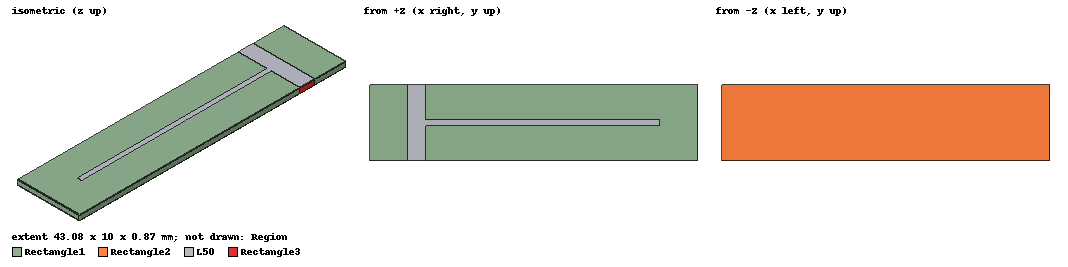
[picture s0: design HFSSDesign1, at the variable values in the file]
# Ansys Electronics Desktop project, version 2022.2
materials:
  vacuum: permittivity=1
  pec: conductivity=1e+30
  Rogers RT/duroid 5870 (tm): permittivity=2.33 dielectric_loss_tangent=0.0012

design HFSSDesign1 (HFSS, DrivenModal, model units mm)
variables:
  w50 = 2.38mm
  l50 = 10mm
  w100 = 0.68mm
  l100 = 30.7mm
  add = 5mm
  t = 0.035mm
  h = 0.8mm
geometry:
  L50 [pec] = rectangle(corner=(0mm, 0mm, 0mm), x_size=w50, y_size=l50)
  L100 = rectangle(corner=(w50, l50/2-w100/2, 0mm), x_size=l100, y_size=w100)
  Rectangle1 [Rogers RT/duroid 5870 (tm)] = rectangle(corner=(-add, 0mm, 0mm), x_size=w50+l100+2*add, y_size=l50)
  L50.unite(L100)
  L50.thicken(t)
  Rectangle1.thicken(-h)
  Rectangle2 [pec] = rectangle(corner=(-add, 0mm, -h-t), x_size=w50+l100+2*add, y_size=l50)
  Rectangle2.thicken(t)
  Rectangle3 = rectangle(corner=(2.38mm, 10mm, 0.035mm), z_size=-0.035mm-0.8mm-0.035mm, x_size=-w50)
  Rectangle4 = rectangle(corner=(2.38mm, 0mm, 0.035mm), z_size=-0.035mm-0.8mm-0.035mm, x_size=-w50)
  Region [vacuum] = region(absolute_offset=50mm on all sides)
  coordinate_system RelativeCS1 = origin=(33.08mm-w100/2, 4.66mm+w100/2, 0.035mm) x=(1mm, 0mm, 0mm) y=(0mm, 1mm, 0mm)
  Cylinder1 = cylinder(axis=Z, base_centre=(0mm, 0mm, -t), radius=0.2mm, height=-h) in RelativeCS1
  Cylinder2 [pec] = cylinder(axis=Z, base_centre=(0mm, 0mm, -t), radius=0.2mm, height=-h) in RelativeCS1
  Rectangle1.subtract(Cylinder1)
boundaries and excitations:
  Rad1: Radiation Objects=Region
  1: Lumped Port Objects=Rectangle4 Modes{Mode1{IntLine{(1.19, 0, -0.835) -> (1.19, 0, 0.035)} CharImp=Zpi RenormImp=50ohm}} Impedance=50ohm
  2: Lumped Port Objects=Rectangle3 Modes{Mode1{IntLine{(1.19, 10, -0.835) -> (1.19, 10, 0.035)} CharImp=Zpi RenormImp=50ohm}} Impedance=50ohm
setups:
  Setup1: HfssDriven MultipleAdaptiveFreqsSetup{Low=1GHz High=7GHz} MaxDeltaS=0.02 MaximumPasses=20 MinimumPasses=1 MinimumConvergedPasses=1 PercentRefinement=30 BasisOrder=1 PortAccuracy=2 DrivenSolverType="Direct Solver"
    sweep Sweep: 1GHz to 7GHz, 401 points; Type=Fast SaveFields
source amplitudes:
  1:1: 1W 0deg
  2:1: 0W 0deg
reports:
  S Parameter Plot 1: dB(S(1,1)), dB(S(2,1)), dB(S(1,2)), dB(S(2,2)) vs Freq on Setup1 : Sweep
